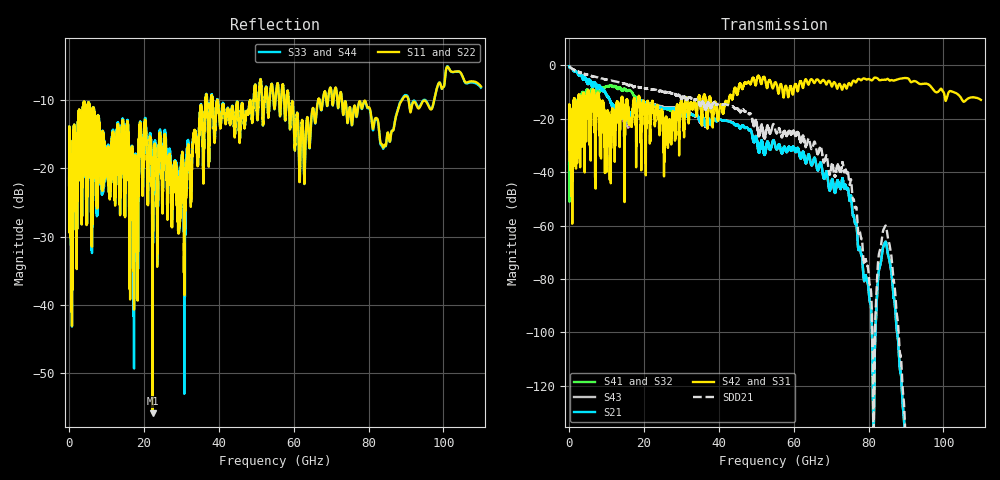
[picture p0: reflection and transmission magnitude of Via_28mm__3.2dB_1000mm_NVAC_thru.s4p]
!4 port subset of full cascaded channels using these ports:3 1 4 2
# Hz S RI R 50
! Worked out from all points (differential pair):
!   11000 points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, 10 MHz to 110 GHz, reference 50 ohm
!   strongest paths, dB at 10 MHz, 27.51 GHz, 55.01 GHz, 82.51 GHz, 110 GHz:
!     S42: -24.3, -23.3, -6.3, -5.0, -12.9
!     S31: -24.3, -23.3, -6.3, -5.0, -12.9
!     S21: -0.3, -16.2, -29.8, -80.0, -
!     S43: -0.3, -15.9, -29.8, -79.9, -
!     S41: -36.9, -16.8, -29.8, -79.9, -
!     S32: -36.9, -16.7, -29.8, -79.9, -
!   taken as a pair (ports 1,3 in; 2,4 out), SDD21 dB: -0.2, -10.4, -23.8, -73.9, -
!   lowest |S11| = -55.8 dB at 22.32 GHz (marker M1), VSWR 1.00, Z = 50 - j0.161 ohm
!   |S11| at or under -10 dB: start of sweep to 36.46 GHz; 38.27 GHz to 49.34 GHz (11.07 GHz wide, 25.3 % of centre); 72.86 GHz to 89.01 GHz (16.15 GHz wide, 20 % of centre)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
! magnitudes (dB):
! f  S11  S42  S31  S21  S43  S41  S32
! 10 MHz  -22.5  -24.3  -24.3  -0.3  -0.3  -36.9  -36.9
! 3.55 GHz  -11.9  -12.4  -12.4  -4.6  -4.6  -11.5  -11.5
! 22.32 GHz  -55.8  -13.5  -13.5  -15.0  -14.7  -15.5  -15.5
! 73.37 GHz  -11.8  -7.3  -7.3  -45.5  -45.5  -45.5  -45.5
! 79.2 GHz  -10.3  -5.1  -5.1  -78.7  -78.8  -78.8  -78.8
! 84.37 GHz  -16.6  -5.3  -5.3  -66.4  -66.4  -66.4  -66.4
! 110 GHz  -8.0  -12.9  -12.9  -  -  -  -
